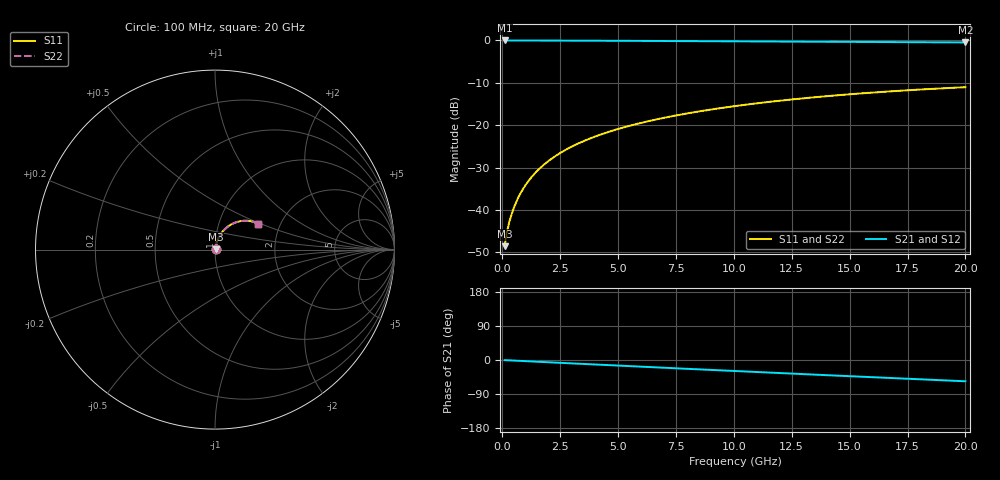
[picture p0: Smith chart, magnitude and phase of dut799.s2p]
! Touchstone file exported from HFSS 2026.1.0
!  File:  C:/ffzhzh/LocalFiles/Ansys_Project_Files/temp_train_BSMRDL_799_1783169691_43440.aedt
!  Generated:  08:56:16 PM Jul  4, 2026
!  Design:  BSMRDL
!  Project:  temp_train_BSMRDL_799_1783169691_43440
! Variables:
!  h_bsmrdl = 4.65um
!  h_ox = 20um
!  h_rdl = 5um
!  h_sub = 80um
!  h_tmrdl = 5um
!  h_tsv = 80um
!  h_via = 3um
!  l_bsmrdl = 952.75um
!  l_sub = 1352.75um
!  l_tmrdl = 200um
!  m_sub = 200um
!  pitch = 42.47um
!  r_tsv = 6um
!  s_tmrdl = 10um
!  w_bsmrdl = 27.77um
!  w_sub = 500um
!  w_tmrdl = 12um
!  x_tsv_center1 = 206um
!  x_tsv_center2 = 1186.52um
!  x_tsv_center3 = 1398.52um
!  x_tsv_center4 = 2379.04um
!  x_tsv_center5 = 2591.04um
!  x_tsv_center6 = 3571.56um
# GHz S MA R 50.000000
! Terminal data exported
! Port[1] = BSM_RDL1_1_T1
! Port[2] = BSM_RDL1_1_T2
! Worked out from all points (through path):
!   200 points, 100 MHz to 20 GHz, reference 50 ohm
!   highest |S21| = -0.03 dB at 100 MHz (marker M1); lowest = -0.5 dB at 20 GHz (marker M2)
!   group delay of S21, straight-line fit = 7.79 ps
!   lowest |S11| = -48.5 dB at 100 MHz (marker M3), VSWR 1.01, Z = 50.3 + j0.234 ohm
!   |S11| at or under -10 dB: start of sweep to end of sweep
!   |S22| runs from -48.5 to -11.0 dB; largest |S21 - S12| = 6.4e-15
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0.1  0.003743 38.4  0.9971 -0.3  0.9971 -0.3  0.003743 38.4
! Gamma 0 0 0 0
! Port Impedance 50 0 50 0
0.2  0.005466 52.8  0.9967 -0.6  0.9967 -0.6  0.005466 52.8
0.3  0.007179 59.8  0.9965 -0.9  0.9965 -0.9  0.007179 59.8
0.4  0.008885 64.3  0.9963 -1.2  0.9963 -1.2  0.008885 64.3
0.5  0.01061 67.6  0.9962 -1.5  0.9962 -1.5  0.01061 67.6
0.6  0.01237 70.0  0.9961 -1.8  0.9961 -1.8  0.01237 70.0
0.8  0.01595 73.0  0.9959 -2.4  0.9959 -2.4  0.01595 73.0
1.1  0.02141 75.4  0.9956 -3.3  0.9956 -3.3  0.02141 75.4
1.3  0.02508 76.1  0.9954 -3.9  0.9954 -3.9  0.02508 76.1
1.6  0.03058 76.6  0.995 -4.8  0.995 -4.8  0.03058 76.6
2.1  0.0397 76.5  0.9942 -6.3  0.9942 -6.3  0.0397 76.5
2.7  0.05051 75.6  0.9931 -8.1  0.9931 -8.1  0.05051 75.6
3.5  0.06462 73.9  0.9914 -10.4  0.9914 -10.4  0.06462 73.9
4.2  0.07667 72.2  0.9898 -12.4  0.9898 -12.4  0.07667 72.2
5  0.09011 70.1  0.9879 -14.8  0.9879 -14.8  0.09012 70.1
5.9  0.1049 67.8  0.9856 -17.3  0.9856 -17.3  0.1049 67.8
6.8  0.1192 65.5  0.9832 -19.9  0.9832 -19.9  0.1192 65.5
8.3  0.1423 61.6  0.9791 -24.2  0.9791 -24.2  0.1423 61.5
10.1  0.1685 56.8  0.9739 -29.2  0.9739 -29.2  0.1685 56.8
13.4  0.2123 48.2  0.9641 -38.4  0.9641 -38.4  0.2123 48.2
16.7  0.2498 39.6  0.9542 -47.4  0.9542 -47.4  0.2498 39.6
20  0.2804 31.1  0.945 -56.2  0.945 -56.2  0.2804 31.1
